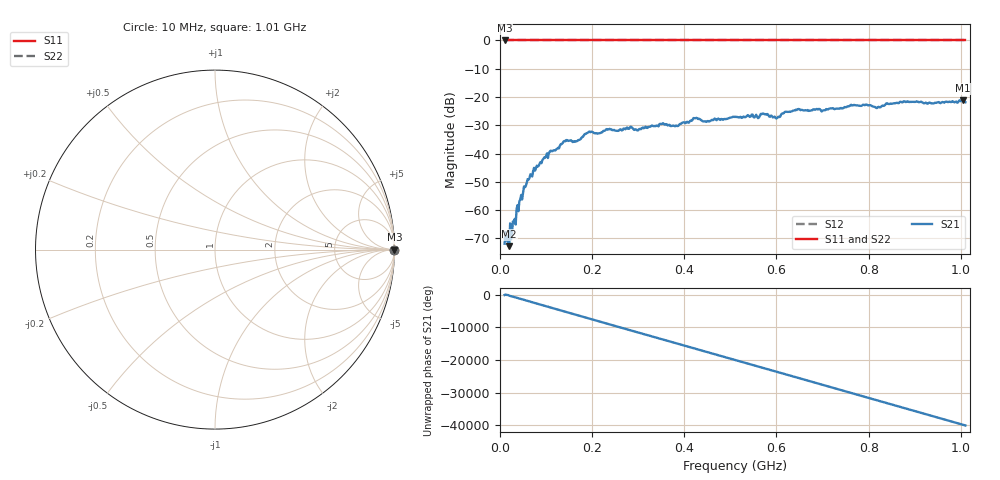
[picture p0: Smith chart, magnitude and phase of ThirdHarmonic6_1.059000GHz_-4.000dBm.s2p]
! 8/16/2025 9:27:20 AM
! C:\ANRITSUVNA\TEMP\TEMP.S2P
! CHANNEL.1
! TR.MEASUREMENT
! RAW.DATA
! RF.CORRECTION.OFF
! AVERAGING.OFF
! IF.BANDWIDTH: 5KHZ
! SWEEPTYPE:  FREQ.SWEEP(Linear)
! Reference Plane Port Info
! PORT:  PORT1  PORT2
! DISTANCE:  0  m  0  m
! TIME:  0  s  0  s
! PHASE.OFFSET:  0  deg.  0  deg.
! LOSS:  0  dB  0  dB
! REF.LOSS:  0  dB  0  dB
! REF.FREQ:  0  Hz  0  Hz
! Power Info
! POWER:  -20  dBm  -20  dBm
! EFF.POWER:  -20  dBm  -20  dBm
! SOURCE.ATTEN:  0  dB  0  dB
! TEST.ATTEN:  0  dB  0  dB
# GHZ S RI R 50.0
! FREQ.GHZ  S11RE  S11IM  S21RE  S21IM  S12RE  S12IM  S22RE  S22IM
!; PortSelection: Port_12
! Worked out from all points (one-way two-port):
!   501 points, 10 MHz to 1.01 GHz, reference 50 ohm
!   highest |S21| = -21.15 dB at 1.004 GHz (marker M1); lowest = -72.8 dB at 20 MHz (marker M2)
!   lowest |S11| = 0.0 dB at 10 MHz (marker M3)
!   |S11| at or under -10 dB: nowhere
!   |S22| runs from 0.0 to 0.0 dB; largest |S21 - S12| = 1.1
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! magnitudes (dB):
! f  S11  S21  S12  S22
! 10 MHz  0.0  -71.9  0.0  0.0
! 20 MHz  0.0  -72.8  0.0  0.0
! 22 MHz  0.0  -64.7  0.0  0.0
! 40 MHz  0.0  -60.4  0.0  0.0
! 56 MHz  0.0  -51.5  0.0  0.0
! 76 MHz  0.0  -46.1  0.0  0.0
! 140 MHz  0.0  -35.6  0.0  0.0
! 178 MHz  0.0  -34.2  0.0  0.0
! 196 MHz  0.0  -32.4  0.0  0.0
! 344 MHz  0.0  -30.4  0.0  0.0
! 384 MHz  0.0  -30.3  0.0  0.0
! 424 MHz  0.0  -27.5  0.0  0.0
! 450 MHz  0.0  -28.5  0.0  0.0
! 510 MHz  0.0  -27.0  0.0  0.0
! 570 MHz  0.0  -25.8  0.0  0.0
! 602 MHz  0.0  -27.3  0.0  0.0
! 622 MHz  0.0  -25.2  0.0  0.0
! 678 MHz  0.0  -24.7  0.0  0.0
! 820 MHz  0.0  -23.6  0.0  0.0
! 844 MHz  0.0  -22.5  0.0  0.0
! 1.004 GHz  0.0  -21.1  0.0  0.0
! 1.01 GHz  0.0  -21.9  0.0  0.0
